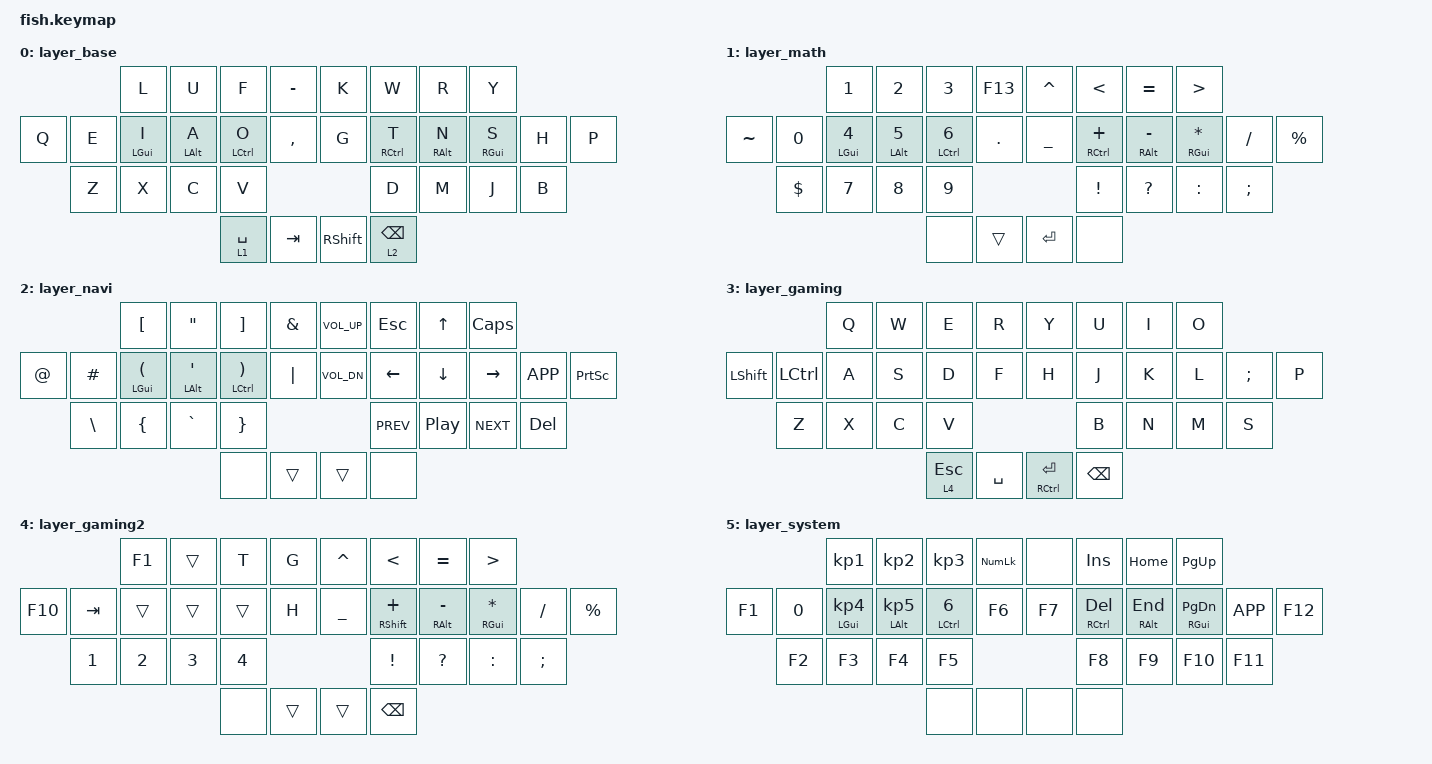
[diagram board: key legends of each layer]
// デフォルトキーマップ（大西配列、Win優先、ANSI方式）
// キーマップを更新する方法は https://o24.works/fish/guide を参照
// 視覚的に編集するには https://o24.works/fish/editor を参照


// 定義を呼んでくる
#include <behaviors.dtsi>
#include <dt-bindings/zmk/keys.h>
#include <dt-bindings/zmk/mouse.h>
#include <dt-bindings/zmk/bt.h>
#include <dt-bindings/zmk/outputs.h>
#include <dt-bindings/zmk/pointing.h>


// 特殊入力の挙動を調整できる

&mt {
    flavor = "tap-preferred";
    tapping-term-ms = <225>;
    quick-tap-ms = <200>;
    require-prior-idle-ms = <150>;
};

&lt {
    flavor = "balanced";
    tapping-term-ms = <175>;
    quick-tap-ms = <200>;
};

&sk {
};

&sl {
};

&caps_word {
};

&key_repeat {
};


/ {
    // 独自の入力を定義できる（上級者向け）

    behaviors {
    };

    macros {
    };

    conditional_layers {
    };


    // 複数キーの同時押しに特別の入力を設定できる
    // キー番号早見表：
    //       0  1  2  3     4  5  6  7
    // 8  9 10 11 12 13    14 15 16 17 18 19
    //   20 21 22 23          24 25 26 27
    //            28 29    30 31

    combos {
	    compatible = "zmk,combos";
	    timeout-ms = <50>;
	    require-prior-idle-ms = <100>;


	    combo_lang2 {
		    key-positions = <11 12>;
		    bindings = <&kp LC(SPACE)>;
	    };

	    combo_lang1 {
		    key-positions = <15 16>;
		    bindings = <&kp LC(SPACE)>;
	    };
	    combo_BT_CLR_ALL {
		    key-positions = <4 5 6 7>;
		    bindings = <&bt BT_CLR_ALL>;
	    };
	    COMBO_LAYER_SYSTEM {
		    key-positions = <28 31>;
		    bindings = <&mo 5>;
	    };
	    combo_Toggle_GameLayer{
		    key-positions = <0 1 2 3>;
		    bindings = <&tog 3>;
	    };

    };
    

    // キーに入力を割り当てる
    // 型（&...）は https://zmk.dev/docs/behaviors/... を参照
    // キーコードは https://zmk.dev/docs/codes/... を参照

    keymap {
        compatible = "zmk,keymap";

        layer_base {
            bindings = <
                        &kp L       &kp U       &kp F       &kp MINUS           &kp K       &kp W       &kp R       &kp Y       
&kp Q       &kp E       &mt LGUI I  &mt LALT A  &mt LCTRL O &kp COMMA           &kp G       &mt RCTRL T &mt RALT N  &mt RGUI S  &kp H       &kp P       
            &kp Z       &kp X       &kp C       &kp V                                       &kp D       &kp M       &kp J       &kp B       
                                                &lt 1 SPACE &kp TAB       &kp RSHFT  &lt 2 BSPC 
            >;
        };

        layer_math {
            bindings = <
                        &kp N1      &kp N2      &kp N3      &kp F13              &kp CARET   &kp LT      &kp EQUAL   &kp GT      
&kp TILDE   &kp N0      &mt LGUI N4 &mt LALT N5 &mt LCTRL N6 &kp DOT            &kp UNDER   &mt RCTRL PLUS &mt RALT MINUS &mt RGUI STAR &kp FSLH &kp PRCNT 
            &kp DLLR    &kp N7      &kp N8      &kp N9                                      &kp EXCL    &kp QMARK   &kp COLON   &kp SEMI    
                                                &none       &trans              &kp RET      &none 
            >;
        };

        layer_navi {
            bindings = <
                        &kp LBKT    &kp DQT     &kp RBKT    &kp AMPS            &kp C_VOL_UP &kp ESC    &kp UP      &kp CAPS    
&kp AT      &kp HASH    &mt LGUI LPAR &mt LALT SQT &mt LCTRL RPAR &kp PIPE     &kp C_VOL_DN &kp LEFT   &kp DOWN    &kp RIGHT   &kp K_APP &kp PSCRN  
            &kp BSLH    &kp LBRC    &kp GRAVE   &kp RBRC                                    &kp C_PREV  &kp C_PP    &kp C_NEXT  &kp DEL
                                                &none  &trans              &trans      &none       
            >;
        };

        layer_gaming {
            bindings = <
                        &kp Q       &kp W       &kp E       &kp R            &kp Y       &kp U       &kp I       &kp O       
&kp LSHIFT  &kp LCTRL       &kp A       &kp S       &kp D       &kp F           &kp H       &kp J    &kp K      &kp L  &kp SEMI       &kp P       
            &kp Z   &kp X       &kp C       &kp V                                  &kp B  &kp N       &kp M       &kp S              
                                                &lt 4 ESC   &kp SPACE       &mt RCTRL RET &kp BSPC 
            >;
        };

        layer_gaming2 {
            bindings = <
                        &kp F1       &trans       &kp  T      &kp G           &kp CARET   &kp LT      &kp EQUAL   &kp GT      
&kp F10      &kp TAB      &trans       &trans       &trans       &kp H          &kp UNDER   &mt RSHFT PLUS &mt RALT MINUS &mt RGUI STAR &kp FSLH &kp PRCNT 
            &kp N1    &kp  N2      &kp N3       &kp N4                                    &kp EXCL    &kp QMARK   &kp COLON   &kp SEMI
                                &none        &trans           &trans  &kp BSPC 
            >;
        };


        layer_system {
            bindings = <
                        &kp KP_N1 &kp KP_N2 &kp KP_N3 &kp KP_NLCK     &none      &kp INS     &kp HOME    &kp PG_UP   
&kp F1 &kp N0 &mt LGUI KP_N4 &mt LALT KP_N5 &mt LCTRL N6 &kp F6         &kp F7      &mt RCTRL DEL     &mt RALT END     &mt RGUI PG_DN   &kp K_APP   &kp F12     
            &kp F2      &kp F3      &kp F4      &kp F5                                      &kp F8      &kp F9      &kp F10     &kp F11     
                                                &none       &none               &none       &none       
            >;
        };

    }; // Keymap end.
};
